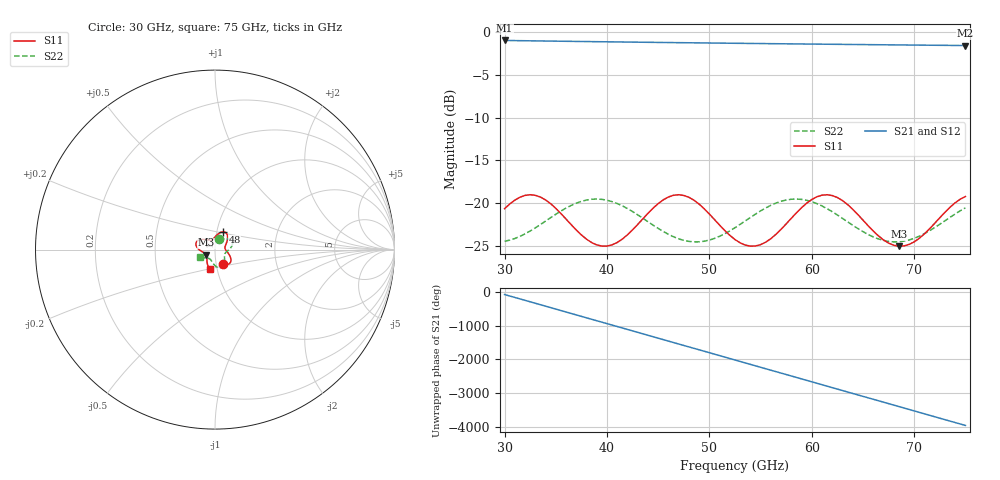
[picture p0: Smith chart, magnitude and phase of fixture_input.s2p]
! CurveTracer example fixture: Input fixture (cable + probe)
! Synthetic data (lossy line): port 1 = instrument side, port 2 = DUT side
! freq  S11(dB, deg)  S21(dB, deg)  S12(dB, deg)  S22(dB, deg)
# GHz S DB R 50
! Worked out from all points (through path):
!   91 points, 30 GHz to 75 GHz, reference 50 ohm
!   highest |S21| = -1.02 dB at 30 GHz (marker M1); lowest = -1.6 dB at 75 GHz (marker M2)
!   lowest |S11| = -25.0 dB at 68.5 GHz (marker M3), VSWR 1.12, Z = 45.3 - j2.52 ohm
!   |S11| at or under -10 dB: start of sweep to end of sweep
!   |S22| runs from -24.5 to -19.5 dB; largest |S21 - S12| = 0
!   S11 on the Smith chart (normalised r, x): 30 GHz: 1.08, -0.18; 48 GHz: 1.07, +0.21; 75 GHz: 0.92, -0.20
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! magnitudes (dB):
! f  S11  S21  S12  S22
! 30 GHz  -20.6  -1.0  -1.0  -24.4
! 31.5 GHz  -19.3  -1.0  -1.0  -23.9
! 33 GHz  -19.1  -1.1  -1.1  -22.9
! 34.5 GHz  -20.0  -1.1  -1.1  -21.7
! 37.5 GHz  -23.7  -1.1  -1.1  -19.8
! 39 GHz  -24.8  -1.2  -1.2  -19.5
! 40.5 GHz  -24.8  -1.2  -1.2  -19.8
! 42 GHz  -23.7  -1.2  -1.2  -20.6
! 45 GHz  -20.0  -1.2  -1.2  -22.9
! 46.5 GHz  -19.1  -1.3  -1.3  -23.9
! 48 GHz  -19.3  -1.3  -1.3  -24.4
! 50 GHz  -21.3  -1.3  -1.3  -24.3
! 52.5 GHz  -24.2  -1.3  -1.3  -22.8
! 54 GHz  -25.0  -1.4  -1.4  -21.6
! 55.5 GHz  -24.5  -1.4  -1.4  -20.5
! 58 GHz  -21.7  -1.4  -1.4  -19.5
! 60 GHz  -19.6  -1.4  -1.4  -19.8
! 62.5 GHz  -19.3  -1.5  -1.5  -21.4
! 67.5 GHz  -24.6  -1.5  -1.5  -24.4
! 68.5 GHz  -25.0  -1.5  -1.5  -24.5
! 70.5 GHz  -24.1  -1.6  -1.6  -23.8
! 75 GHz  -19.2  -1.6  -1.6  -20.5
